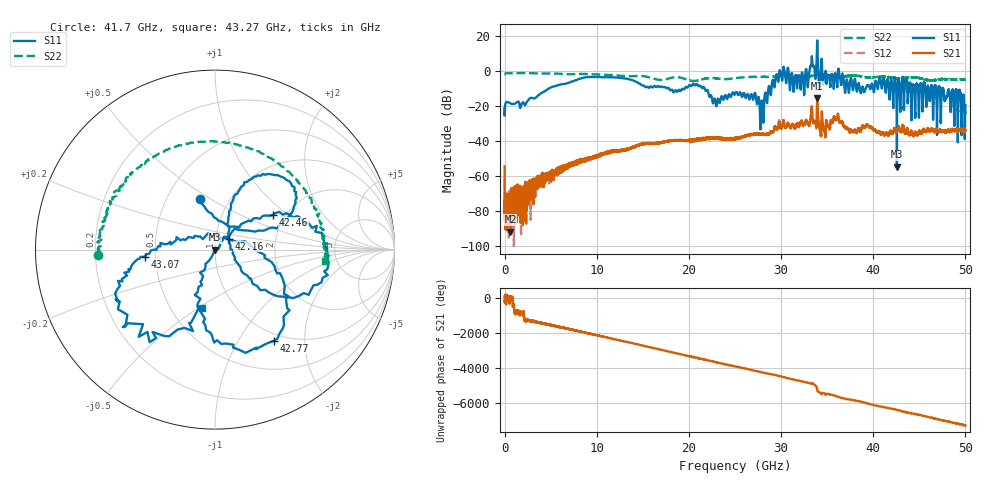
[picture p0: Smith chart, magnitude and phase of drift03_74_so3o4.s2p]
!Created with skrf (http://scikit-rf.org).
# Hz S RI R 50.0
!freq ReS11 ImS11 ReS21 ImS21 ReS12 ImS12 ReS22 ImS22
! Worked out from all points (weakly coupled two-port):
!   10001 points, 300 kHz to 50 GHz, reference 50 ohm
!   highest |S21| = -15.55 dB at 33.92 GHz (marker M1); lowest = -91.9 dB at 630.3 MHz (marker M2)
!   lowest |S11| = -54.9 dB at 42.57 GHz (marker M3), VSWR 1.00, Z = 49.8 + j0.018 ohm
!   |S11| at or under -10 dB: start of sweep to 4.849 GHz; 21.69 GHz to 28.62 GHz (6.932 GHz wide, 27.6 % of centre); 47.54 GHz to end of sweep (the widest 3 of 44)
!   |S22| runs from -5.9 to -1.3 dB; largest |S21 - S12| = 0.019
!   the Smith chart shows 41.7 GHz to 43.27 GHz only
!   S11 on the Smith chart (normalised r, x): 41.7 GHz: 0.73, +0.45; 42.16 GHz: 1.15, +0.14; 42.46 GHz: 1.73, +0.78; 42.77 GHz: 0.90, -1.43; 43.07 GHz: 0.44, -0.04; 43.27 GHz: 0.71, -0.52
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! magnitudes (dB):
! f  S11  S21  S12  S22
! 300 kHz  -21.3  -54.7  -61.9  -2.1
! 260.3 MHz  -17.9  -74.3  -77.1  -1.5
! 630.3 MHz  -18.6  -91.9  -70.2  -1.5
! 8.335 GHz  -4.3  -51.3  -51.2  -1.9
! 16.67 GHz  -8.8  -41.3  -41.4  -5.2
! 21.01 GHz  -8.8  -39.4  -39.1  -5.5
! 22.81 GHz  -16.1  -38.7  -38.6  -4.2
! 25 GHz  -13.4  -39.0  -38.8  -4.3
! 27.91 GHz  -17.1  -36.4  -36.4  -3.5
! 29.69 GHz  -6.4  -32.0  -31.6  -3.1
! 32.32 GHz  -1.5  -30.4  -30.6  -3.2
! 33.34 GHz  8.3  -20.3  -20.7  -2.9
! 33.92 GHz  17.3  -15.5  -15.9  -2.5
! 41.67 GHz  -9.0  -37.0  -36.9  -3.7
! 41.7 GHz  -10.6  -36.7  -36.5  -3.7
! 42.16 GHz  -20.2  -35.3  -35.0  -4.1
! 42.46 GHz  -8.5  -34.7  -34.6  -4.3
! 42.57 GHz  -54.9  -34.7  -34.5  -4.4
! 42.77 GHz  -4.4  -31.9  -32.0  -4.5
! 43.07 GHz  -8.1  -34.8  -34.6  -4.4
! 43.27 GHz  -9.5  -32.3  -32.4  -4.2
! 50 GHz  -19.7  -33.9  -33.5  -4.9
